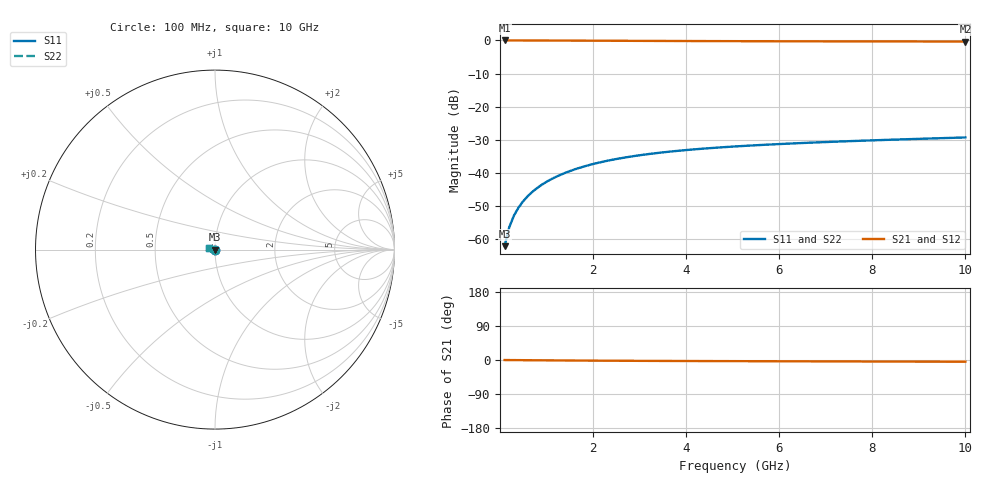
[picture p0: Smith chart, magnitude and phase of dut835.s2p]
! Touchstone file exported from HFSS 2024.1.0
!  File:  C:/UserFiles/LocalFiles/RDL_TSV_Batchsim/temp_TSV1_835_1779879584.aedt
!  Generated:  07:04:25 PM May 27, 2026
!  Design:  TSV1
!  Project:  temp_TSV1_835_1779879584
!  Setup:  Setup1
!  Solution:  Sweep
! Variables:
!  dtsv = 7.1um
!  hbump = 3um
!  htsv = 69.52um
!  lrdl = 252.1521522um
!  p = 40
!  p1 = 44.15um
!  t = 500um
!  trdl = 3um
!  wrdl = 24.89489489um
# GHz S MA R 50.000000
! Terminal data exported
! Port[1] = TSV22_T1
! Port[2] = TSV22_T2
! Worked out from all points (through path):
!   100 points, 100 MHz to 10 GHz, reference 50 ohm
!   highest |S21| = 0.00 dB at 100 MHz (marker M1); lowest = -0.3 dB at 10 GHz (marker M2)
!   lowest |S11| = -62.0 dB at 100 MHz (marker M3), VSWR 1.00, Z = 50 - j0.0755 ohm
!   |S11| at or under -10 dB: start of sweep to end of sweep
!   |S22| runs from -62.0 to -29.3 dB; largest |S21 - S12| = 6.1e-15
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0.1  0.0007914 -72.4  0.9997 -0.1  0.9997 -0.1  0.0007914 -72.4
! Gamma 0 0 0 0
! Port Impedance 50 0 50 0
0.2  0.001534 -83.6  0.9996 -0.2  0.9996 -0.2  0.001534 -83.6
0.3  0.002284 -88.8  0.9995 -0.3  0.9995 -0.3  0.002284 -88.8
0.4  0.003033 -92.2  0.9993 -0.4  0.9993 -0.4  0.003033 -92.2
0.5  0.003777 -95.0  0.9991 -0.5  0.9991 -0.5  0.003777 -95.0
0.6  0.004516 -97.5  0.9988 -0.6  0.9988 -0.6  0.004516 -97.5
0.7  0.005247 -99.8  0.9985 -0.7  0.9985 -0.7  0.005247 -99.8
0.8  0.00597 -101.9  0.9982 -0.7  0.9982 -0.7  0.00597 -101.9
0.9  0.006683 -103.9  0.9978 -0.8  0.9978 -0.8  0.006683 -103.9
1.1  0.008077 -107.8  0.9969 -1.0  0.9969 -1.0  0.008077 -107.8
1.4  0.01008 -113.2  0.9954 -1.2  0.9954 -1.2  0.01008 -113.2
1.6  0.01134 -116.7  0.9943 -1.4  0.9943 -1.4  0.01134 -116.7
1.8  0.01255 -120.0  0.9931 -1.5  0.9931 -1.5  0.01255 -120.0
2.1  0.01425 -124.8  0.9912 -1.7  0.9912 -1.7  0.01425 -124.8
2.5  0.01631 -130.7  0.9886 -2.0  0.9886 -2.0  0.01631 -130.7
2.9  0.01815 -136.2  0.9861 -2.2  0.9861 -2.2  0.01815 -136.2
3.4  0.02017 -142.5  0.9831 -2.4  0.9831 -2.4  0.02017 -142.5
4.2  0.02288 -151.6  0.9789 -2.8  0.9789 -2.8  0.02288 -151.6
5.1  0.02535 -160.3  0.9749 -3.1  0.9749 -3.1  0.02535 -160.3
6.7  0.02882 -173.2  0.9697 -3.6  0.9697 -3.6  0.02882 -173.2
8.4  0.03186 175.8  0.966 -4.1  0.966 -4.1  0.03186 175.8
10  0.03446 167.1  0.9635 -4.6  0.9635 -4.6  0.03446 167.1
